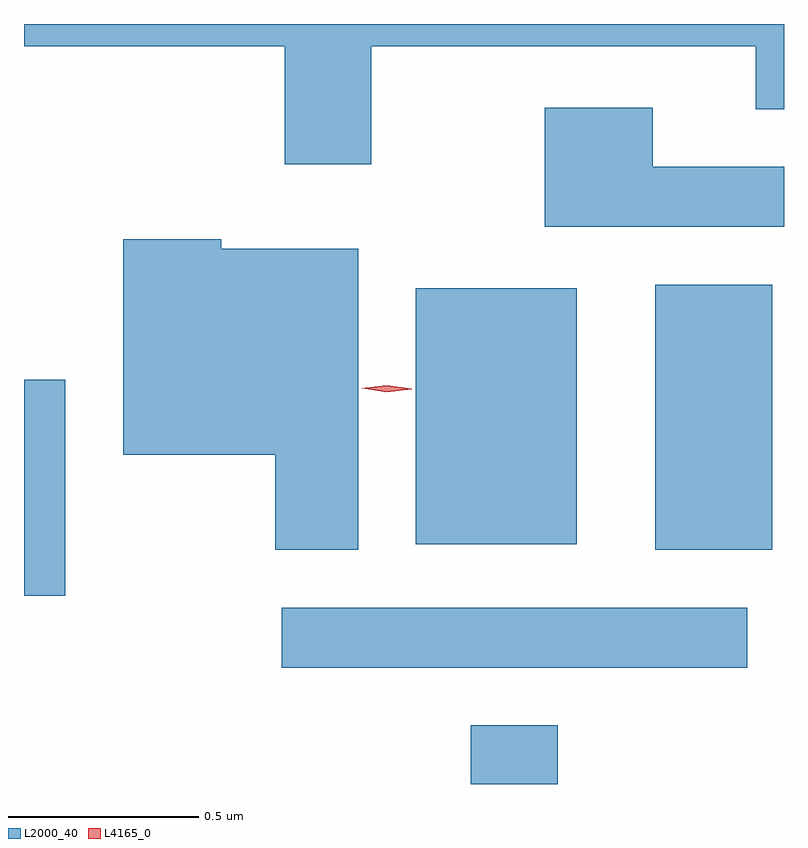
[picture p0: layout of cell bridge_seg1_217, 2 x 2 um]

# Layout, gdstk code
import gdstk
lib = gdstk.Library(unit=1e-6, precision=1e-09)
def R(c, l, rs):  # rectangles x0, y0, x1, y1
    for r in rs: c.add(gdstk.rectangle(r[:2], r[2:], *l))
def P(c, l, *ps):  # polygons
    for p in ps: c.add(gdstk.Polygon(p, *l))
L2000_40 = (2000, 40)
L4165_0 = (4165, 0)

bridge_seg1_217 = lib.new_cell('bridge_seg1_217')
R(bridge_seg1_217, L2000_40, [(835.561,913.175,835.789,913.329), (835.063,913.481,836.288,913.639), (834.385,913.671,834.494,914.239), (836.046,913.791,836.354,914.489), (835.416,913.806,835.839,914.479)])
P(bridge_seg1_217, L2000_40, [(835.299,915.116),(836.311,915.116),(836.311,914.951),(836.385,914.951),(836.385,915.175),(834.385,915.175),(834.385,915.116),(835.071,915.116),(835.071,914.806),(835.299,914.806)],
  [(836.385,914.799),(836.039,914.799),(836.039,914.954),(835.756,914.954),(835.756,914.641),(836.385,914.641)],
  [(835.264,914.584),(834.904,914.584),(834.904,914.609),(834.646,914.609),(834.646,914.041),(835.046,914.041),(835.046,913.791),(835.264,913.791)])
P(bridge_seg1_217, L4165_0, [(835.34,914.206),(835.274,914.216),(835.273,914.216),(835.274,914.217),(835.34,914.225),(835.406,914.215),(835.406,914.215),(835.406,914.214)])

lib.write_gds('bridge_seg1_217.gds')
